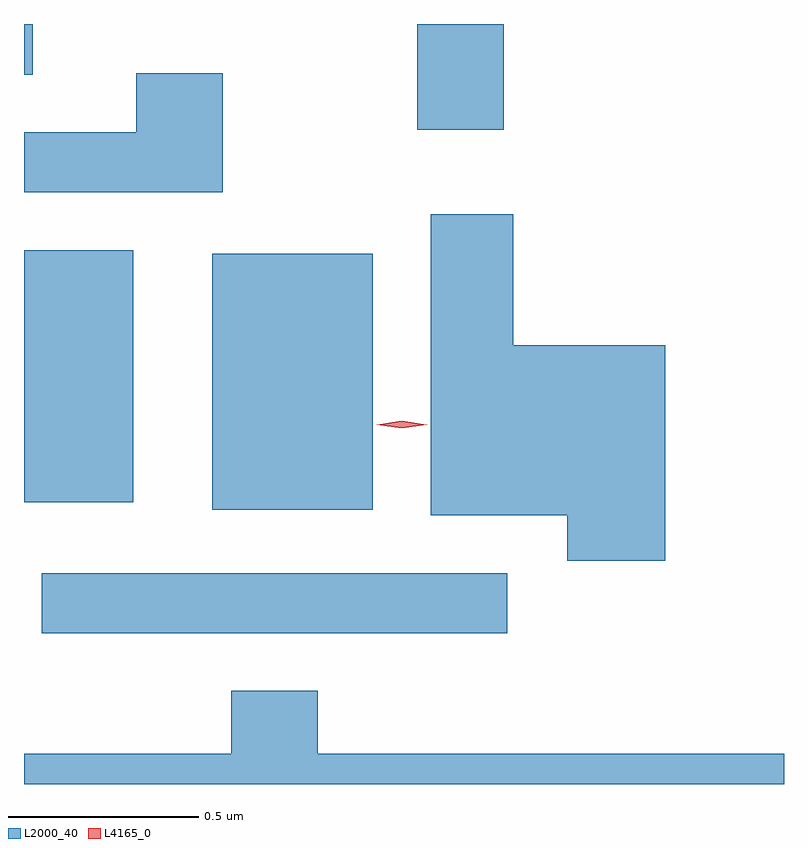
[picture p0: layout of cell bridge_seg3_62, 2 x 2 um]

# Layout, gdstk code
import gdstk
lib = gdstk.Library(unit=1e-6, precision=1e-09)
def R(c, l, rs):  # rectangles x0, y0, x1, y1
    for r in rs: c.add(gdstk.rectangle(r[:2], r[2:], *l))
def P(c, l, *ps):  # polygons
    for p in ps: c.add(gdstk.Polygon(p, *l))
L2000_40 = (2000, 40)
L4165_0 = (4165, 0)

bridge_seg3_62 = lib.new_cell('bridge_seg3_62')
R(bridge_seg3_62, L2000_40, [(1232.493,1210.961,1233.718,1211.119), (1232.941,1211.286,1233.364,1211.959), (1232.446,1211.306,1232.734,1211.969), (1233.481,1212.286,1233.709,1212.564), (1232.446,1212.431,1232.469,1212.564)])
P(bridge_seg3_62, L2000_40, [(1232.969,1212.434),(1232.741,1212.434),(1232.741,1212.279),(1232.446,1212.279),(1232.446,1212.121),(1232.969,1212.121)],
  [(1234.134,1211.719),(1233.734,1211.719),(1233.734,1212.064),(1233.516,1212.064),(1233.516,1211.271),(1233.876,1211.271),(1233.876,1211.151),(1234.134,1211.151)],
  [(1234.446,1210.644),(1233.219,1210.644),(1233.219,1210.809),(1232.991,1210.809),(1232.991,1210.644),(1232.446,1210.644),(1232.446,1210.564),(1234.446,1210.564)])
P(bridge_seg3_62, L4165_0, [(1233.44,1211.5),(1233.374,1211.51),(1233.373,1211.51),(1233.374,1211.51),(1233.44,1211.52),(1233.506,1211.51),(1233.507,1211.51),(1233.506,1211.509)])

lib.write_gds('bridge_seg3_62.gds')
